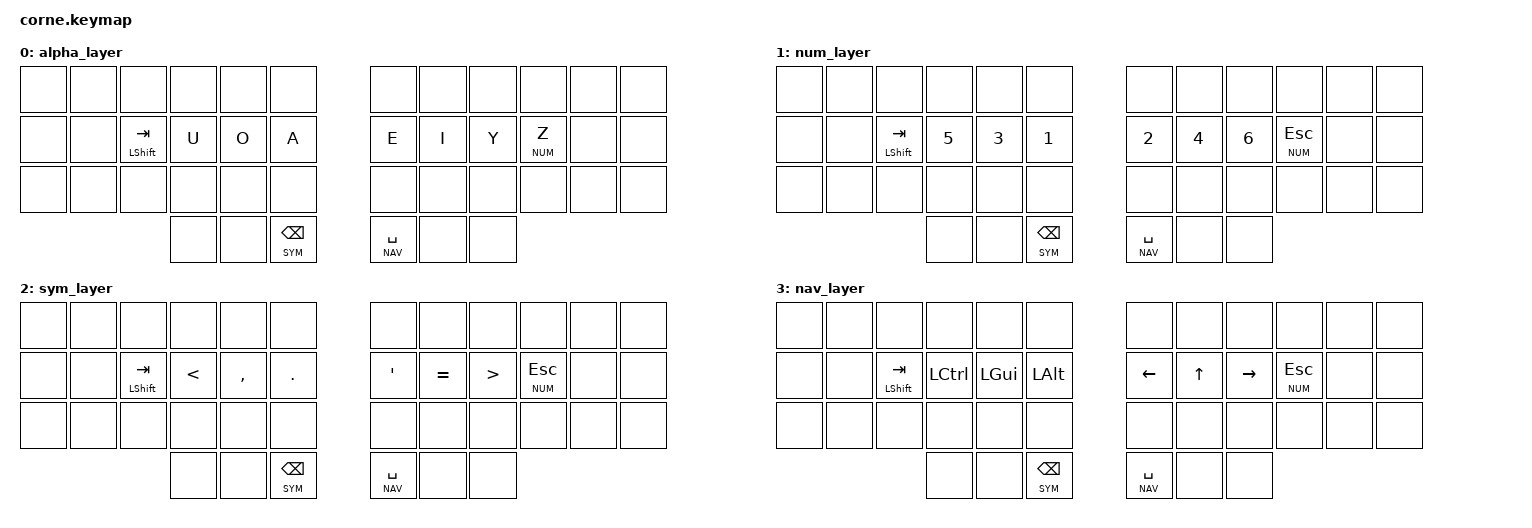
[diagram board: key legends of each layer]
/*
 * Copyright (c) 2020 The ZMK Contributors
 *
 * SPDX-License-Identifier: MIT
 */

#include <behaviors.dtsi>
#include <dt-bindings/zmk/bt.h>
#include <dt-bindings/zmk/keys.h>

#include "ten.h"
#include "layers.h"
#include "combos.dtsi"

&mt {
    tapping-term-ms = <400>;
    quick-tap-ms = <175>;
    require-prior-idle-ms = <150>;
    flavor = "balanced";
};

&lt { tapping-term-ms = <400>; };

/ {

    keymap {
        compatible = "zmk,keymap";
        alpha_layer {
            bindings = <
// ╭─────────────────────────────────────────────────────────────────────────────────────────╮   ╭────────────────────────────────────────────────────────────────────────────────────────────╮
// │              │              │              │              │              │              │   │                 │              │              │              │              │              │
         &none          &none          &none          &none          &none         &none               &none             &none          &none         &none          &none          &none     
// ├──────────────┼──────────────┼──────────────┼──────────────┼──────────────┼──────────────┤   ├─────────────────┼──────────────┼──────────────┼──────────────┼──────────────┼──────────────┤
// │              │              │      mod     │       U      │       O      │       A      │   │       E         │       I      │       Y      │      ESC     │              │              │
         &none          &none     &mt LSHIFT TAB      &kp U          &kp O          &kp A              &kp E             &kp I          &kp Y      &lt NUM Z       &none          &none    
// ├──────────────┼──────────────┼──────────────┼──────────────┼──────────────┼──────────────┤   ├─────────────────┼──────────────┼──────────────┼──────────────┼──────────────┼──────────────┤
// │              │              │              │              │              │              │   │                 │              │              │              │              │              │
         &none          &none          &none          &none          &none         &none                &none            &none          &none          &none          &none          &none   
// ╰──────────────┼──────────────┼──────────────┼──────────────┼──────────────┼──────────────┤   ├─────────────────┼──────────────┼──────────────┼──────────────┼──────────────┼──────────────╯
                                                      &none          &none     &lt SYM BACKSPACE  &lt NAV SPACE       &none          &none
//                                              ╰──────────────┼──────────────┼──────────────╯   ╰─────────────────┼──────────────┼──────────────╯
            >;
        };
        num_layer {
            bindings = <
// ╭─────────────────────────────────────────────────────────────────────────────────────────╮   ╭────────────────────────────────────────────────────────────────────────────────────────────╮
// │              │              │              │              │              │              │   │                 │              │              │              │              │              │
         &none          &none          &none          &none          &none         &none               &none             &none          &none         &none          &none          &none     
// ├──────────────┼──────────────┼──────────────┼──────────────┼──────────────┼──────────────┤   ├─────────────────┼──────────────┼──────────────┼──────────────┼──────────────┼──────────────┤
// │              │              │      mod     │       5      │       3      │       1      │   │       2         │       4      │       6      │      mod     │              │              │
         &none          &none     &mt LSHIFT TAB      &kp N5        &kp N3         &kp N1             &kp N2            &kp N4         &kp N6      &lt NUM ESC       &none          &none    
// ├──────────────┼──────────────┼──────────────┼──────────────┼──────────────┼──────────────┤   ├─────────────────┼──────────────┼──────────────┼──────────────┼──────────────┼──────────────┤
// │              │              │              │              │              │              │   │                 │              │              │              │              │              │
         &none          &none          &none          &none          &none         &none                &none            &none          &none          &none          &none          &none   
// ╰──────────────┼──────────────┼──────────────┼──────────────┼──────────────┼──────────────┤   ├─────────────────┼──────────────┼──────────────┼──────────────┼──────────────┼──────────────╯
                                                      &none          &none    &lt SYM BACKSPACE  &lt NAV SPACE       &none          &none
//                                              ╰──────────────┼──────────────┼──────────────╯   ╰─────────────────┼──────────────┼──────────────╯
            >;
        };
        sym_layer {
            bindings = <
// ╭─────────────────────────────────────────────────────────────────────────────────────────╮   ╭────────────────────────────────────────────────────────────────────────────────────────────╮
// │              │              │              │              │              │              │   │                 │              │              │              │              │              │
         &none          &none          &none          &none          &none         &none               &none             &none          &none         &none          &none          &none     
// ├──────────────┼──────────────┼──────────────┼──────────────┼──────────────┼──────────────┤   ├─────────────────┼──────────────┼──────────────┼──────────────┼──────────────┼──────────────┤
// │              │              │      mod     │   LESS_THAN  │    COMMA     │      DOT     │   │   APOSTRAPHE    │     EQUAL    │ GREATER_THAN │      mod     │              │              │
         &none          &none     &mt LSHIFT TAB &kp LESS_THAN    &kp COMMA        &kp DOT         &kp APOSTROPHE     &kp EQUAL   &kp GREATER_THAN &lt NUM ESC        &none          &none    
// ├──────────────┼──────────────┼──────────────┼──────────────┼──────────────┼──────────────┤   ├─────────────────┼──────────────┼──────────────┼──────────────┼──────────────┼──────────────┤
// │              │              │              │              │              │              │   │                 │              │              │              │              │              │
         &none          &none          &none          &none          &none         &none                &none            &none          &none          &none          &none          &none   
// ╰──────────────┼──────────────┼──────────────┼──────────────┼──────────────┼──────────────┤   ├─────────────────┼──────────────┼──────────────┼──────────────┼──────────────┼──────────────╯
                                                      &none          &none     &lt SYM BACKSPACE  &lt NAV SPACE       &none          &none
//                                              ╰──────────────┼──────────────┼──────────────╯   ╰─────────────────┼──────────────┼──────────────╯
            >;
        };
        nav_layer {
            bindings = <
// ╭─────────────────────────────────────────────────────────────────────────────────────────╮   ╭────────────────────────────────────────────────────────────────────────────────────────────╮
// │              │              │              │              │              │              │   │                 │              │              │              │              │              │
         &none          &none          &none          &none          &none         &none               &none             &none          &none         &none          &none          &none     
// ├──────────────┼──────────────┼──────────────┼──────────────┼──────────────┼──────────────┤   ├─────────────────┼──────────────┼──────────────┼──────────────┼──────────────┼──────────────┤
// │              │              │      mod     │    LSHIFT    │     LGUI     │      LALT    │   │       LEFT      │       UP     │    RIGHT     │      mod     │              │              │
         &none          &none     &mt LSHIFT TAB   &kp LCTRL       &kp LGUI        &kp LALT            &kp LEFT         &kp UP       &kp RIGHT      &lt NUM ESC       &none          &none    
// ├──────────────┼──────────────┼──────────────┼──────────────┼──────────────┼──────────────┤   ├─────────────────┼──────────────┼──────────────┼──────────────┼──────────────┼──────────────┤
// │              │              │              │              │              │              │   │                 │              │              │              │              │              │
         &none          &none          &none          &none          &none         &none                &none            &none          &none          &none          &none          &none   
// ╰──────────────┼──────────────┼──────────────┼──────────────┼──────────────┼──────────────┤   ├─────────────────┼──────────────┼──────────────┼──────────────┼──────────────┼──────────────╯
                                                      &none          &none     &lt SYM BACKSPACE  &lt NAV SPACE       &none          &none
//                                              ╰──────────────┼──────────────┼──────────────╯   ╰─────────────────┼──────────────┼──────────────╯
            >;
        };
    };
    
};
